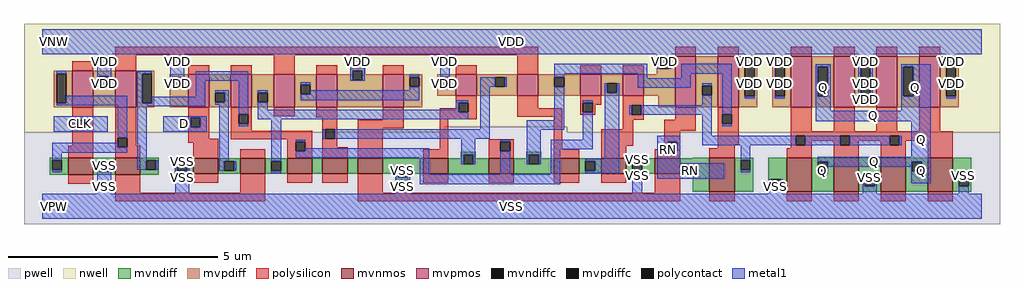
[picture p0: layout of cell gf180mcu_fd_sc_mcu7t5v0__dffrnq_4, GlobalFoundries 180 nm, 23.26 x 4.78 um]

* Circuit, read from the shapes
.subckt gf180mcu_fd_sc_mcu7t5v0__dffrnq_4 D RN CLK Q VDD VNW VPW VSS
XM1 VSS CLK n1 VPW nfet_06v0 w=0.405u l=0.6u
XM2 n2 n1 VSS VPW nfet_06v0 w=0.405u l=0.6u
XM3 n3 D VSS VPW nfet_06v0 w=0.36u l=0.6u
XM4 n4 n1 n3 VPW nfet_06v0 w=0.36u l=0.6u
XM5 n5 n2 n4 VPW nfet_06v0 w=0.36u l=0.6u
XM6 n6 n7 n5 VPW nfet_06v0 w=0.36u l=0.6u
XM7 VSS RN n6 VPW nfet_06v0 w=0.36u l=0.6u
XM8 n7 n4 VSS VPW nfet_06v0 w=0.36u l=0.6u
XM9 n8 n2 n7 VPW nfet_06v0 w=0.36u l=0.6u
XM10 n9 n1 n8 VPW nfet_06v0 w=0.36u l=0.6u
XM11 VSS n10 n9 VPW nfet_06v0 w=0.36u l=0.6u
XM12 n11 RN VSS VPW nfet_06v0 w=0.36u l=0.6u
XM13 n10 n8 n11 VPW nfet_06v0 w=0.815u l=0.6u
XM14 Q n10 VSS VPW nfet_06v0 w=0.815u l=0.6u m=4
XM15 VDD CLK n1 VNW pfet_06v0 w=0.865u l=0.5u
XM16 n2 n1 VDD VNW pfet_06v0 w=0.865u l=0.5u
XM17 n3 D VDD VNW pfet_06v0 w=0.78u l=0.5u
XM18 n4 n2 n3 VNW pfet_06v0 w=0.78u l=0.5u
XM19 n12 n1 n4 VNW pfet_06v0 w=0.78u l=0.5u
XM20 VDD n7 n12 VNW pfet_06v0 w=0.78u l=0.5u
XM21 n12 RN VDD VNW pfet_06v0 w=0.78u l=0.5u
XM22 n7 n4 VDD VNW pfet_06v0 w=0.505u l=0.5u
XM23 n8 n1 n7 VNW pfet_06v0 w=0.505u l=0.5u
XM24 n9 n2 n8 VNW pfet_06v0 w=0.505u l=0.5u
XM25 VDD n10 n9 VNW pfet_06v0 w=0.505u l=0.5u
XM26 n10 RN VDD VNW pfet_06v0 w=1.215u l=0.5u
XM27 VDD n8 n10 VNW pfet_06v0 w=1.215u l=0.5u
XM28 Q n10 VDD VNW pfet_06v0 w=1.215u l=0.5u m=4
.ends

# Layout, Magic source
magic
tech gf180mcuD
magscale 1 10
<< nwell >>
rect -86 379 4566 870
rect -86 352 1920 379
rect 2503 352 4566 379
<< pwell >>
rect 1920 352 2503 379
rect -86 -86 4566 352
<< mvnmos >>
rect 124 151 244 232
rect 348 151 468 232
rect 720 156 840 228
rect 944 156 1064 228
rect 1168 156 1288 228
rect 1336 156 1456 228
rect 1504 156 1624 228
rect 1816 156 1936 228
rect 2128 156 2248 228
rect 2440 156 2560 228
rect 2665 156 2785 228
rect 2921 156 3041 228
rect 3181 69 3301 232
rect 3549 69 3669 232
rect 3773 69 3893 232
rect 3997 69 4117 232
rect 4221 69 4341 232
<< mvpmos >>
rect 144 472 244 645
rect 348 472 448 645
rect 696 472 796 628
rect 900 472 1000 628
rect 1104 472 1204 628
rect 1308 472 1408 628
rect 1624 472 1724 628
rect 1972 527 2072 628
rect 2264 527 2364 628
rect 2565 527 2665 628
rect 2769 527 2869 628
rect 3017 472 3117 715
rect 3221 472 3321 715
rect 3569 472 3669 715
rect 3773 472 3873 715
rect 3977 472 4077 715
rect 4181 472 4281 715
<< mvndiff >>
rect 36 219 124 232
rect 36 173 49 219
rect 95 173 124 219
rect 36 151 124 173
rect 244 210 348 232
rect 244 164 273 210
rect 319 164 348 210
rect 244 151 348 164
rect 468 219 556 232
rect 1996 246 2068 259
rect 1996 228 2009 246
rect 468 173 497 219
rect 543 173 556 219
rect 468 151 556 173
rect 632 215 720 228
rect 632 169 645 215
rect 691 169 720 215
rect 632 156 720 169
rect 840 215 944 228
rect 840 169 869 215
rect 915 169 944 215
rect 840 156 944 169
rect 1064 215 1168 228
rect 1064 169 1093 215
rect 1139 169 1168 215
rect 1064 156 1168 169
rect 1288 156 1336 228
rect 1456 156 1504 228
rect 1624 183 1816 228
rect 1624 156 1697 183
rect 1684 137 1697 156
rect 1743 156 1816 183
rect 1936 200 2009 228
rect 2055 228 2068 246
rect 2308 246 2380 259
rect 2308 228 2321 246
rect 2055 200 2128 228
rect 1936 156 2128 200
rect 2248 200 2321 228
rect 2367 228 2380 246
rect 3101 228 3181 232
rect 2367 200 2440 228
rect 2248 156 2440 200
rect 2560 215 2665 228
rect 2560 169 2590 215
rect 2636 169 2665 215
rect 2560 156 2665 169
rect 2785 215 2921 228
rect 2785 169 2814 215
rect 2860 169 2921 215
rect 2785 156 2921 169
rect 3041 156 3181 228
rect 1743 137 1756 156
rect 1684 124 1756 137
rect 3101 69 3181 156
rect 3301 219 3389 232
rect 3301 173 3330 219
rect 3376 173 3389 219
rect 3301 69 3389 173
rect 3461 128 3549 232
rect 3461 82 3474 128
rect 3520 82 3549 128
rect 3461 69 3549 82
rect 3669 213 3773 232
rect 3669 167 3698 213
rect 3744 167 3773 213
rect 3669 69 3773 167
rect 3893 142 3997 232
rect 3893 96 3922 142
rect 3968 96 3997 142
rect 3893 69 3997 96
rect 4117 213 4221 232
rect 4117 167 4146 213
rect 4192 167 4221 213
rect 4117 69 4221 167
rect 4341 142 4429 232
rect 4341 96 4370 142
rect 4416 96 4429 142
rect 4341 69 4429 96
<< mvpdiff >>
rect 56 632 144 645
rect 56 492 69 632
rect 115 492 144 632
rect 56 472 144 492
rect 244 619 348 645
rect 244 573 273 619
rect 319 573 348 619
rect 244 472 348 573
rect 448 632 536 645
rect 448 492 477 632
rect 523 492 536 632
rect 1468 647 1540 660
rect 1468 628 1481 647
rect 448 472 536 492
rect 608 615 696 628
rect 608 569 621 615
rect 667 569 696 615
rect 608 472 696 569
rect 796 541 900 628
rect 796 495 825 541
rect 871 495 900 541
rect 796 472 900 495
rect 1000 541 1104 628
rect 1000 495 1029 541
rect 1075 495 1104 541
rect 1000 472 1104 495
rect 1204 580 1308 628
rect 1204 534 1233 580
rect 1279 534 1308 580
rect 1204 472 1308 534
rect 1408 601 1481 628
rect 1527 628 1540 647
rect 2929 702 3017 715
rect 2929 656 2942 702
rect 2988 656 3017 702
rect 2929 628 3017 656
rect 1527 601 1624 628
rect 1408 472 1624 601
rect 1724 615 1812 628
rect 1724 569 1753 615
rect 1799 569 1812 615
rect 1724 472 1812 569
rect 1884 615 1972 628
rect 1884 569 1897 615
rect 1943 569 1972 615
rect 1884 527 1972 569
rect 2072 615 2264 628
rect 2072 569 2159 615
rect 2205 569 2264 615
rect 2072 527 2264 569
rect 2364 615 2565 628
rect 2364 569 2442 615
rect 2488 569 2565 615
rect 2364 527 2565 569
rect 2665 586 2769 628
rect 2665 540 2694 586
rect 2740 540 2769 586
rect 2665 527 2769 540
rect 2869 527 3017 628
rect 2937 472 3017 527
rect 3117 575 3221 715
rect 3117 529 3146 575
rect 3192 529 3221 575
rect 3117 472 3221 529
rect 3321 665 3409 715
rect 3321 525 3350 665
rect 3396 525 3409 665
rect 3321 472 3409 525
rect 3481 665 3569 715
rect 3481 525 3494 665
rect 3540 525 3569 665
rect 3481 472 3569 525
rect 3669 665 3773 715
rect 3669 525 3698 665
rect 3744 525 3773 665
rect 3669 472 3773 525
rect 3873 665 3977 715
rect 3873 525 3902 665
rect 3948 525 3977 665
rect 3873 472 3977 525
rect 4077 665 4181 715
rect 4077 525 4106 665
rect 4152 525 4181 665
rect 4077 472 4181 525
rect 4281 665 4369 715
rect 4281 525 4310 665
rect 4356 525 4369 665
rect 4281 472 4369 525
<< mvndiffc >>
rect 49 173 95 219
rect 273 164 319 210
rect 497 173 543 219
rect 645 169 691 215
rect 869 169 915 215
rect 1093 169 1139 215
rect 1697 137 1743 183
rect 2009 200 2055 246
rect 2321 200 2367 246
rect 2590 169 2636 215
rect 2814 169 2860 215
rect 3330 173 3376 219
rect 3474 82 3520 128
rect 3698 167 3744 213
rect 3922 96 3968 142
rect 4146 167 4192 213
rect 4370 96 4416 142
<< mvpdiffc >>
rect 69 492 115 632
rect 273 573 319 619
rect 477 492 523 632
rect 621 569 667 615
rect 825 495 871 541
rect 1029 495 1075 541
rect 1233 534 1279 580
rect 1481 601 1527 647
rect 2942 656 2988 702
rect 1753 569 1799 615
rect 1897 569 1943 615
rect 2159 569 2205 615
rect 2442 569 2488 615
rect 2694 540 2740 586
rect 3146 529 3192 575
rect 3350 525 3396 665
rect 3494 525 3540 665
rect 3698 525 3744 665
rect 3902 525 3948 665
rect 4106 525 4152 665
rect 4310 525 4356 665
<< polysilicon >>
rect 348 720 2364 760
rect 144 645 244 690
rect 348 645 448 720
rect 696 628 796 672
rect 900 628 1000 672
rect 1104 628 1204 720
rect 1308 628 1408 672
rect 1624 628 1724 672
rect 1972 628 2072 672
rect 2264 628 2364 720
rect 3017 715 3117 760
rect 3221 715 3321 760
rect 3569 715 3669 760
rect 3773 715 3873 760
rect 3977 715 4077 760
rect 4181 715 4281 760
rect 2565 628 2665 672
rect 2769 628 2869 672
rect 1972 494 2072 527
rect 144 412 244 472
rect 144 366 157 412
rect 203 366 244 412
rect 144 288 244 366
rect 124 232 244 288
rect 348 326 448 472
rect 348 280 361 326
rect 407 288 448 326
rect 696 422 796 472
rect 696 376 709 422
rect 755 376 796 422
rect 696 322 796 376
rect 900 439 1000 472
rect 900 393 937 439
rect 983 393 1000 439
rect 1104 428 1204 472
rect 1308 423 1408 472
rect 900 360 1000 393
rect 1336 368 1408 423
rect 1624 412 1724 472
rect 1972 467 1985 494
rect 696 302 840 322
rect 900 320 1288 360
rect 407 280 468 288
rect 348 232 468 280
rect 720 228 840 302
rect 1168 307 1288 320
rect 944 228 1064 272
rect 1168 261 1209 307
rect 1255 261 1288 307
rect 1168 228 1288 261
rect 1336 322 1349 368
rect 1395 322 1408 368
rect 1336 280 1408 322
rect 1504 372 1724 412
rect 1896 448 1985 467
rect 2031 448 2072 494
rect 1896 414 2072 448
rect 2264 467 2364 527
rect 2565 494 2665 527
rect 2264 427 2480 467
rect 2565 448 2578 494
rect 2624 483 2665 494
rect 2624 448 2637 483
rect 2565 435 2637 448
rect 2769 481 2869 527
rect 2769 435 2810 481
rect 2856 435 2869 481
rect 1336 228 1456 280
rect 1504 228 1624 372
rect 1896 272 1936 414
rect 1816 228 1936 272
rect 2128 307 2248 320
rect 2128 261 2185 307
rect 2231 261 2248 307
rect 124 107 244 151
rect 348 64 468 151
rect 720 112 840 156
rect 944 64 1064 156
rect 1168 112 1288 156
rect 1336 112 1456 156
rect 348 24 1064 64
rect 1504 64 1624 156
rect 2128 228 2248 261
rect 2440 272 2480 427
rect 2769 412 2869 435
rect 3017 412 3117 472
rect 2769 368 2817 412
rect 2665 288 2817 368
rect 2965 361 3117 412
rect 3221 439 3321 472
rect 3221 393 3242 439
rect 3288 393 3321 439
rect 2965 307 3041 361
rect 2440 228 2560 272
rect 2665 228 2785 288
rect 2965 272 2982 307
rect 2921 261 2982 272
rect 3028 261 3041 307
rect 3221 292 3321 393
rect 3569 357 3669 472
rect 3773 357 3873 472
rect 3977 358 4077 472
rect 4181 358 4281 472
rect 3977 357 4281 358
rect 3569 336 4341 357
rect 3221 276 3301 292
rect 3569 290 3592 336
rect 3638 311 3805 336
rect 3638 290 3669 311
rect 3569 276 3669 290
rect 2921 228 3041 261
rect 3181 232 3301 276
rect 3549 232 3669 276
rect 3773 290 3805 311
rect 3851 311 4040 336
rect 3851 290 3893 311
rect 3773 232 3893 290
rect 3997 290 4040 311
rect 4086 311 4341 336
rect 4086 290 4117 311
rect 3997 232 4117 290
rect 4221 232 4341 311
rect 1816 112 1936 156
rect 2128 112 2248 156
rect 2440 112 2560 156
rect 2665 112 2785 156
rect 2921 64 3041 156
rect 1504 24 3041 64
rect 3181 24 3301 69
rect 3549 24 3669 69
rect 3773 24 3893 69
rect 3997 24 4117 69
rect 4221 24 4341 69
<< polycontact >>
rect 157 366 203 412
rect 361 280 407 326
rect 709 376 755 422
rect 937 393 983 439
rect 1209 261 1255 307
rect 1349 322 1395 368
rect 1985 448 2031 494
rect 2578 448 2624 494
rect 2810 435 2856 481
rect 2185 261 2231 307
rect 3242 393 3288 439
rect 2982 261 3028 307
rect 3592 290 3638 336
rect 3805 290 3851 336
rect 4040 290 4086 336
<< metal1 >>
rect 0 724 4480 844
rect 69 632 115 645
rect 262 619 330 724
rect 262 573 273 619
rect 319 573 330 619
rect 453 632 523 643
rect 115 492 407 527
rect 69 481 407 492
rect 56 412 314 430
rect 56 366 157 412
rect 203 366 314 412
rect 56 354 314 366
rect 361 326 407 481
rect 49 280 361 302
rect 49 256 407 280
rect 453 492 477 632
rect 610 615 678 724
rect 1470 647 1538 724
rect 610 569 621 615
rect 667 569 678 615
rect 733 598 983 644
rect 1470 601 1481 647
rect 1527 601 1538 647
rect 1470 598 1538 601
rect 1753 615 1799 626
rect 733 523 779 598
rect 523 492 779 523
rect 453 477 779 492
rect 825 541 891 552
rect 871 495 891 541
rect 825 484 891 495
rect 49 219 95 256
rect 453 219 499 477
rect 578 422 784 430
rect 578 376 709 422
rect 755 376 784 422
rect 578 354 784 376
rect 49 162 95 173
rect 262 164 273 210
rect 319 164 331 210
rect 453 173 497 219
rect 543 173 554 219
rect 845 215 891 484
rect 937 439 983 598
rect 1233 580 1279 591
rect 1029 541 1075 552
rect 1753 552 1799 569
rect 1897 615 1943 724
rect 2931 702 2999 724
rect 2442 632 2885 678
rect 2931 656 2942 702
rect 2988 656 2999 702
rect 2442 615 2488 632
rect 1897 558 1943 569
rect 2088 569 2159 615
rect 2205 569 2216 615
rect 2839 610 2885 632
rect 3047 632 3288 678
rect 3047 610 3093 632
rect 1279 534 1799 552
rect 1233 506 1799 534
rect 1029 460 1075 495
rect 1971 494 2031 505
rect 1971 460 1985 494
rect 1029 448 1985 460
rect 1029 414 2031 448
rect 937 382 983 393
rect 1093 215 1139 414
rect 2088 368 2134 569
rect 2442 410 2488 569
rect 2683 540 2694 586
rect 2740 540 2751 586
rect 2839 564 3093 610
rect 3146 575 3192 586
rect 1338 322 1349 368
rect 1395 322 2134 368
rect 2310 364 2488 410
rect 2578 494 2624 505
rect 1209 307 1255 318
rect 1255 261 1846 276
rect 1209 230 1846 261
rect 262 60 331 164
rect 634 169 645 215
rect 691 169 702 215
rect 845 169 869 215
rect 915 169 926 215
rect 634 60 702 169
rect 1093 158 1139 169
rect 1686 137 1697 183
rect 1743 137 1754 183
rect 1686 60 1754 137
rect 1800 152 1846 230
rect 1998 246 2066 322
rect 1998 200 2009 246
rect 2055 200 2066 246
rect 2185 307 2231 318
rect 2185 152 2231 261
rect 2310 246 2378 364
rect 2578 318 2624 448
rect 2310 200 2321 246
rect 2367 200 2378 246
rect 2424 272 2624 318
rect 2424 152 2470 272
rect 2683 226 2751 540
rect 3146 481 3192 529
rect 2799 435 2810 481
rect 2856 435 3192 481
rect 2932 307 3042 337
rect 2932 261 2982 307
rect 3028 261 3042 307
rect 3146 336 3192 435
rect 3242 439 3288 632
rect 3350 665 3397 724
rect 3396 525 3397 665
rect 3350 514 3397 525
rect 3493 665 3540 724
rect 3493 525 3494 665
rect 3493 514 3540 525
rect 3687 665 3760 676
rect 3687 525 3698 665
rect 3744 525 3760 665
rect 3687 456 3760 525
rect 3891 665 3959 724
rect 3891 525 3902 665
rect 3948 525 3959 665
rect 3891 506 3959 525
rect 4095 665 4236 676
rect 4095 525 4106 665
rect 4152 525 4236 665
rect 4095 456 4236 525
rect 4310 665 4356 724
rect 4310 514 4356 525
rect 3687 406 4236 456
rect 3242 382 3288 393
rect 3146 290 3592 336
rect 3638 290 3805 336
rect 3851 290 4040 336
rect 4086 290 4097 336
rect 2590 215 2751 226
rect 2636 169 2751 215
rect 2590 158 2751 169
rect 2814 215 2860 226
rect 1800 106 2470 152
rect 2814 60 2860 169
rect 2932 205 3042 261
rect 3330 219 3376 290
rect 4143 235 4236 406
rect 2932 132 3251 205
rect 3330 162 3376 173
rect 3698 213 4236 235
rect 3744 188 4146 213
rect 3698 156 3744 167
rect 4143 167 4146 188
rect 4192 167 4236 213
rect 3463 82 3474 128
rect 3520 82 3531 128
rect 3463 60 3531 82
rect 3911 96 3922 142
rect 3968 96 3979 142
rect 4143 110 4236 167
rect 4370 142 4416 153
rect 3911 60 3979 96
rect 4370 60 4416 96
rect 0 -60 4480 60
<< labels >>
flabel metal1 s 578 354 784 430 0 FreeSans 600 0 0 0 D
port 1 nsew default input
flabel metal1 s 4095 456 4236 676 0 FreeSans 600 0 0 0 Q
port 4 nsew default output
flabel metal1 s 2932 205 3042 337 0 FreeSans 600 0 0 0 RN
port 2 nsew default input
flabel metal1 s 0 724 4480 844 0 FreeSans 600 0 0 0 VDD
port 5 nsew power bidirectional abutment
flabel metal1 s 2814 215 2860 226 0 FreeSans 600 0 0 0 VSS
port 8 nsew ground bidirectional abutment
flabel metal1 s 56 354 314 430 0 FreeSans 600 0 0 0 CLK
port 3 nsew clock input
flabel nwell s 10 734 110 834 0 FreeSans 400 0 0 0 VNW
port 6 nsew power bidirectional
flabel pwell s 10 -50 110 50 0 FreeSans 400 0 0 0 VPW
port 7 nsew ground bidirectional
rlabel metal1 s 2932 132 3251 205 1 RN
port 2 nsew default input
rlabel metal1 s 3687 456 3760 676 1 Q
port 4 nsew default output
rlabel metal1 s 3687 406 4236 456 1 Q
port 4 nsew default output
rlabel metal1 s 4143 235 4236 406 1 Q
port 4 nsew default output
rlabel metal1 s 3698 188 4236 235 1 Q
port 4 nsew default output
rlabel metal1 s 4143 156 4236 188 1 Q
port 4 nsew default output
rlabel metal1 s 3698 156 3744 188 1 Q
port 4 nsew default output
rlabel metal1 s 4143 110 4236 156 1 Q
port 4 nsew default output
rlabel metal1 s 4310 656 4356 724 1 VDD
port 5 nsew power bidirectional abutment
rlabel metal1 s 3891 656 3959 724 1 VDD
port 5 nsew power bidirectional abutment
rlabel metal1 s 3493 656 3540 724 1 VDD
port 5 nsew power bidirectional abutment
rlabel metal1 s 3350 656 3397 724 1 VDD
port 5 nsew power bidirectional abutment
rlabel metal1 s 2931 656 2999 724 1 VDD
port 5 nsew power bidirectional abutment
rlabel metal1 s 1897 656 1943 724 1 VDD
port 5 nsew power bidirectional abutment
rlabel metal1 s 1470 656 1538 724 1 VDD
port 5 nsew power bidirectional abutment
rlabel metal1 s 610 656 678 724 1 VDD
port 5 nsew power bidirectional abutment
rlabel metal1 s 262 656 330 724 1 VDD
port 5 nsew power bidirectional abutment
rlabel metal1 s 4310 598 4356 656 1 VDD
port 5 nsew power bidirectional abutment
rlabel metal1 s 3891 598 3959 656 1 VDD
port 5 nsew power bidirectional abutment
rlabel metal1 s 3493 598 3540 656 1 VDD
port 5 nsew power bidirectional abutment
rlabel metal1 s 3350 598 3397 656 1 VDD
port 5 nsew power bidirectional abutment
rlabel metal1 s 1897 598 1943 656 1 VDD
port 5 nsew power bidirectional abutment
rlabel metal1 s 1470 598 1538 656 1 VDD
port 5 nsew power bidirectional abutment
rlabel metal1 s 610 598 678 656 1 VDD
port 5 nsew power bidirectional abutment
rlabel metal1 s 262 598 330 656 1 VDD
port 5 nsew power bidirectional abutment
rlabel metal1 s 4310 573 4356 598 1 VDD
port 5 nsew power bidirectional abutment
rlabel metal1 s 3891 573 3959 598 1 VDD
port 5 nsew power bidirectional abutment
rlabel metal1 s 3493 573 3540 598 1 VDD
port 5 nsew power bidirectional abutment
rlabel metal1 s 3350 573 3397 598 1 VDD
port 5 nsew power bidirectional abutment
rlabel metal1 s 1897 573 1943 598 1 VDD
port 5 nsew power bidirectional abutment
rlabel metal1 s 610 573 678 598 1 VDD
port 5 nsew power bidirectional abutment
rlabel metal1 s 262 573 330 598 1 VDD
port 5 nsew power bidirectional abutment
rlabel metal1 s 4310 569 4356 573 1 VDD
port 5 nsew power bidirectional abutment
rlabel metal1 s 3891 569 3959 573 1 VDD
port 5 nsew power bidirectional abutment
rlabel metal1 s 3493 569 3540 573 1 VDD
port 5 nsew power bidirectional abutment
rlabel metal1 s 3350 569 3397 573 1 VDD
port 5 nsew power bidirectional abutment
rlabel metal1 s 1897 569 1943 573 1 VDD
port 5 nsew power bidirectional abutment
rlabel metal1 s 610 569 678 573 1 VDD
port 5 nsew power bidirectional abutment
rlabel metal1 s 4310 558 4356 569 1 VDD
port 5 nsew power bidirectional abutment
rlabel metal1 s 3891 558 3959 569 1 VDD
port 5 nsew power bidirectional abutment
rlabel metal1 s 3493 558 3540 569 1 VDD
port 5 nsew power bidirectional abutment
rlabel metal1 s 3350 558 3397 569 1 VDD
port 5 nsew power bidirectional abutment
rlabel metal1 s 1897 558 1943 569 1 VDD
port 5 nsew power bidirectional abutment
rlabel metal1 s 4310 514 4356 558 1 VDD
port 5 nsew power bidirectional abutment
rlabel metal1 s 3891 514 3959 558 1 VDD
port 5 nsew power bidirectional abutment
rlabel metal1 s 3493 514 3540 558 1 VDD
port 5 nsew power bidirectional abutment
rlabel metal1 s 3350 514 3397 558 1 VDD
port 5 nsew power bidirectional abutment
rlabel metal1 s 3891 506 3959 514 1 VDD
port 5 nsew power bidirectional abutment
rlabel metal1 s 2814 210 2860 215 1 VSS
port 8 nsew ground bidirectional abutment
rlabel metal1 s 634 210 702 215 1 VSS
port 8 nsew ground bidirectional abutment
rlabel metal1 s 2814 183 2860 210 1 VSS
port 8 nsew ground bidirectional abutment
rlabel metal1 s 634 183 702 210 1 VSS
port 8 nsew ground bidirectional abutment
rlabel metal1 s 262 183 331 210 1 VSS
port 8 nsew ground bidirectional abutment
rlabel metal1 s 2814 153 2860 183 1 VSS
port 8 nsew ground bidirectional abutment
rlabel metal1 s 1686 153 1754 183 1 VSS
port 8 nsew ground bidirectional abutment
rlabel metal1 s 634 153 702 183 1 VSS
port 8 nsew ground bidirectional abutment
rlabel metal1 s 262 153 331 183 1 VSS
port 8 nsew ground bidirectional abutment
rlabel metal1 s 4370 142 4416 153 1 VSS
port 8 nsew ground bidirectional abutment
rlabel metal1 s 2814 142 2860 153 1 VSS
port 8 nsew ground bidirectional abutment
rlabel metal1 s 1686 142 1754 153 1 VSS
port 8 nsew ground bidirectional abutment
rlabel metal1 s 634 142 702 153 1 VSS
port 8 nsew ground bidirectional abutment
rlabel metal1 s 262 142 331 153 1 VSS
port 8 nsew ground bidirectional abutment
rlabel metal1 s 4370 128 4416 142 1 VSS
port 8 nsew ground bidirectional abutment
rlabel metal1 s 3911 128 3979 142 1 VSS
port 8 nsew ground bidirectional abutment
rlabel metal1 s 2814 128 2860 142 1 VSS
port 8 nsew ground bidirectional abutment
rlabel metal1 s 1686 128 1754 142 1 VSS
port 8 nsew ground bidirectional abutment
rlabel metal1 s 634 128 702 142 1 VSS
port 8 nsew ground bidirectional abutment
rlabel metal1 s 262 128 331 142 1 VSS
port 8 nsew ground bidirectional abutment
rlabel metal1 s 4370 60 4416 128 1 VSS
port 8 nsew ground bidirectional abutment
rlabel metal1 s 3911 60 3979 128 1 VSS
port 8 nsew ground bidirectional abutment
rlabel metal1 s 3463 60 3531 128 1 VSS
port 8 nsew ground bidirectional abutment
rlabel metal1 s 2814 60 2860 128 1 VSS
port 8 nsew ground bidirectional abutment
rlabel metal1 s 1686 60 1754 128 1 VSS
port 8 nsew ground bidirectional abutment
rlabel metal1 s 634 60 702 128 1 VSS
port 8 nsew ground bidirectional abutment
rlabel metal1 s 262 60 331 128 1 VSS
port 8 nsew ground bidirectional abutment
rlabel metal1 s 0 -60 4480 60 1 VSS
port 8 nsew ground bidirectional abutment
<< properties >>
string FIXED_BBOX 0 0 4480 784
string GDS_END 1017790
string GDS_FILE $PDKPATH/libs.ref/gf180mcu_fd_sc_mcu7t5v0/gds/gf180mcu_fd_sc_mcu7t5v0.gds
string GDS_START 1007964
string LEFclass core
string LEFsite GF018hv5v_mcu_sc7
string LEFsymmetry X Y
<< end >>
